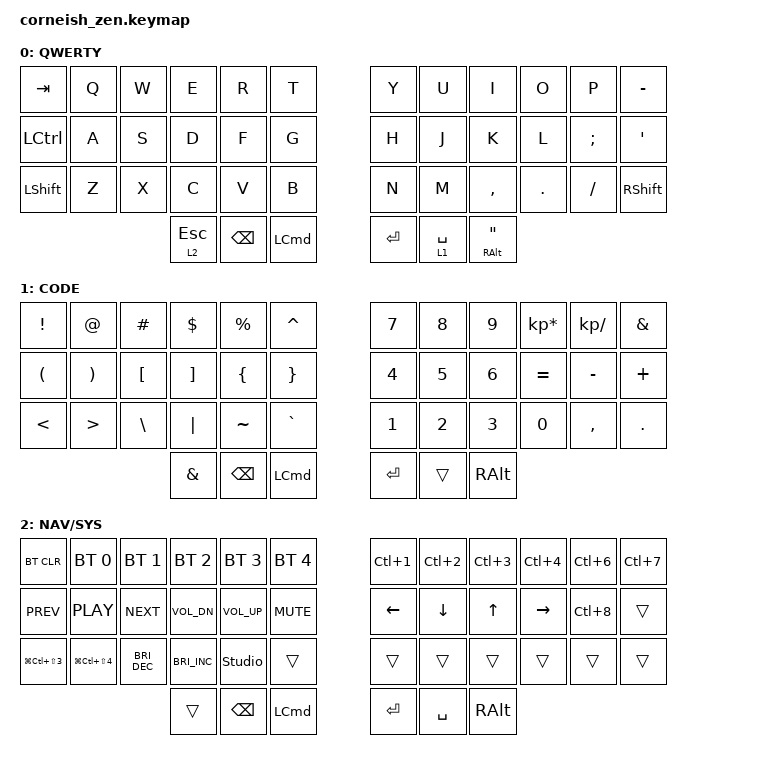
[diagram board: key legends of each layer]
#include <behaviors.dtsi>
#include <dt-bindings/zmk/keys.h>
#include <dt-bindings/zmk/bt.h>

/ {
  chosen {
    zmk,physical-layout = &foostan_corne_6col_layout;
    // zmk,physical-layout = &foostan_corne_5col_layout;
  };
};

/ {
        keymap {
                compatible = "zmk,keymap";

                default_layer {
                        display-name = "QWERTY";
// -----------------------------------------------------------------------------------------
// |  TAB |  Q  |  W  |  E  |  R  |  T  |   |  Y  |  U  |  I  |  O  |  P  |  -  |
// | CTRL |  A  |  S  |  D  |  F  |  G  |   |  H  |  J  |  K  |  L  |  ;  |  '  |
// | SHFT |  Z  |  X  |  C  |  V  |  B  |   |  N  |  M  |  ,  |  .  |  /  | SHFT |
//                  | ESC/NAV | BKSP | CMD |   | RET | SPC/CODE | DQT/ALT |
                        bindings = <
   &kp TAB   &kp Q &kp W &kp E &kp R &kp T   &kp Y    &kp U     &kp I     &kp O   &kp P    &kp MINUS
   &kp LCTRL &kp A &kp S &kp D &kp F &kp G   &kp H    &kp J     &kp K     &kp L   &kp SEMI &kp SQT
   &kp LSHFT &kp Z &kp X &kp C &kp V &kp B   &kp N    &kp M     &kp COMMA &kp DOT &kp FSLH &kp RSHIFT
                   &lt 2 ESC &kp BSPC &kp LCMD   &kp RET &lt 1 SPACE &mt RALT DQT
                        >;
                };

                code_layer {
                        display-name = "CODE";
// -----------------------------------------------------------------------------------------
// |  !   |  @  |  #  |  $  |  %  |  ^  |   |  7  |  8  |  9  |  *  |  /  |  &  |
// |  (   |  )  |  [  |  ]  |  {  |  }  |   |  4  |  5  |  6  |  =  |  -  |  +  |
// |  <   |  >  |  \  |  |  |  ~  |  `  |   |  1  |  2  |  3  |  0  |  ,  |  .  |
//                  |  &  | BKSP | CMD |   | RET | SPACE | ALT |
                        // Hold the right middle thumb (Space) to access this layer.
                        bindings = <
   &kp EXCL  &kp AT    &kp HASH  &kp DLLR  &kp PRCNT &kp CARET   &kp N7 &kp N8 &kp N9 &kp KP_MULTIPLY &kp KP_DIVIDE &kp AMPS
   &kp LPAR  &kp RPAR  &kp LBKT  &kp RBKT  &kp LBRC  &kp RBRC    &kp N4 &kp N5 &kp N6 &kp EQUAL       &kp MINUS     &kp PLUS
   &kp LT    &kp GT    &kp BSLH  &kp PIPE  &kp TILDE &kp GRAVE   &kp N1 &kp N2 &kp N3 &kp N0           &kp COMMA     &kp DOT
                   &kp AMPS &kp BSPC &kp LCMD   &kp RET &trans &kp RALT
                        >;
                };

                nav_sys_layer {
                        display-name = "NAV/SYS";
// -----------------------------------------------------------------------------------------
// | BTCLR | BT0 | BT1 | BT2 | BT3 | BT4 |   | DV1 | DV2 | DV3 | DV4 | DV6 | DV7 |
// | PREV  | PLAY| NEXT| VDN | VUP | MUTE|   |  ←  |  ↓   |  ↑  |  →  | DV8 |     |
// | SHOT3 | SHOT4 | B↓ | B↑ | STUDIO |     |      |      |     |     |     |     |
//                  |  TRANS | BKSP | CMD |   | RET | SPACE | ALT |
                        // Hold the left outer thumb (Escape) to access this layer.
                        // Hold NAV, then tap V, to unlock ZMK Studio.
                        // Divvy: Ctrl+1, Ctrl+2, Ctrl+3, Ctrl+4, Ctrl+6, Ctrl+7, Ctrl+8.
                        bindings = <
   &bt BT_CLR &bt BT_SEL 0 &bt BT_SEL 1 &bt BT_SEL 2 &bt BT_SEL 3 &bt BT_SEL 4   &kp LC(N1) &kp LC(N2) &kp LC(N3) &kp LC(N4) &kp LC(N6) &kp LC(N7)
   &kp C_PREV &kp C_PLAY  &kp C_NEXT    &kp C_VOL_DN &kp C_VOL_UP &kp C_MUTE     &kp LEFT &kp DOWN &kp UP &kp RIGHT &kp LC(N8) &trans
   &kp LG(LC(LS(N3))) &kp LG(LC(LS(N4))) &kp C_BRIGHTNESS_DEC &kp C_BRIGHTNESS_INC &studio_unlock &trans   &trans &trans &trans &trans &trans &trans
                   &trans &kp BSPC &kp LCMD   &kp RET &kp SPACE &kp RALT
                        >;
                };
        };
};
